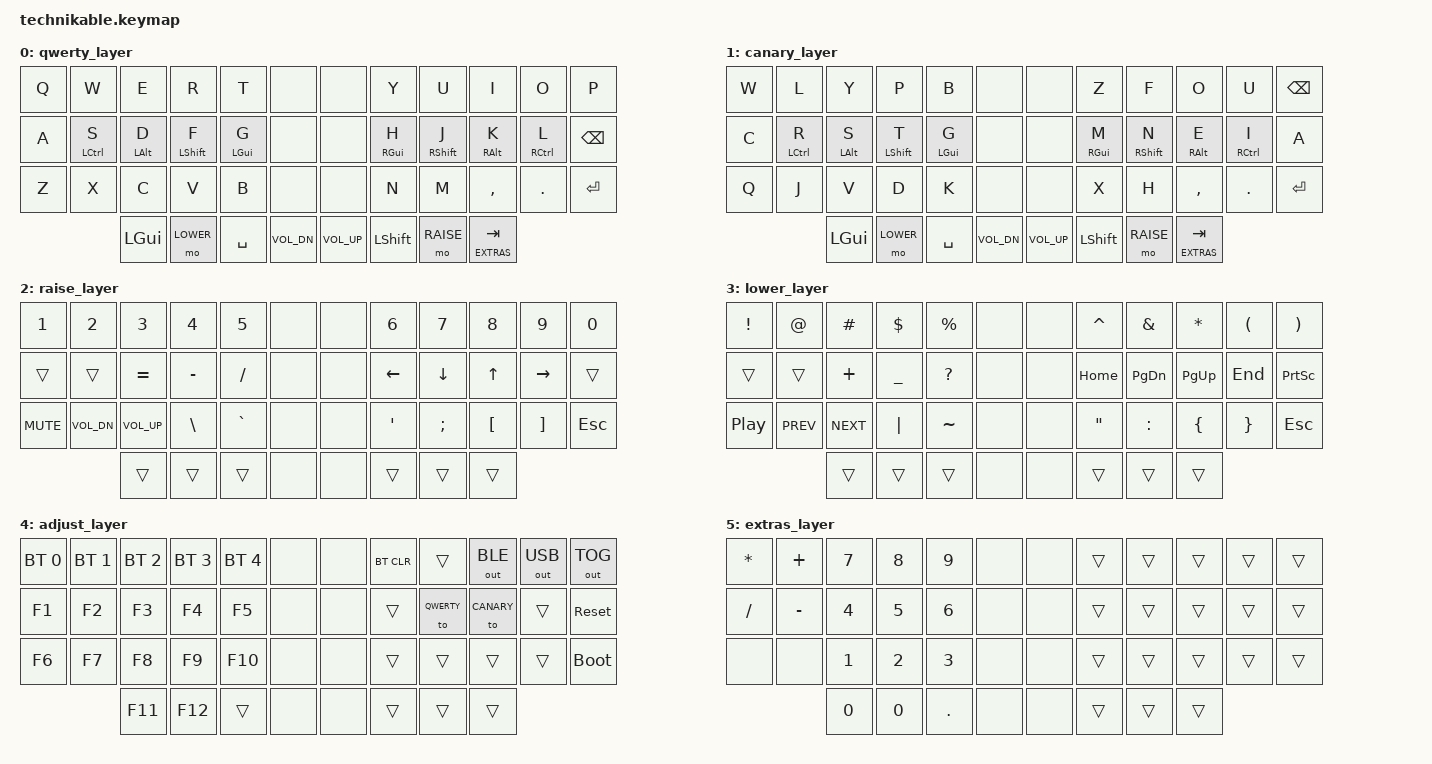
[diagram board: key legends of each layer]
/*
 * Copyright (c) 2022 Pete Johanson
 *
 * SPDX-License-Identifier: MIT
 */

#include <behaviors.dtsi>
#include <dt-bindings/zmk/keys.h>
#include <dt-bindings/zmk/bt.h>
#include <dt-bindings/zmk/outputs.h>
#include <dt-bindings/zmk/ext_power.h>

#define QWERTY 0
#define CANARY 1
#define RAISE 2
#define LOWER 3
#define ADJUST 4
#define EXTRAS 5

/ {
    conditional_layers {
        compatible = "zmk,conditional-layers";
        tri_layer {
            if-layers = <RAISE LOWER>;
            then-layer = <ADJUST>;
        };
    };
};

/ {
    behaviors {
        hm: homerow_mods {
            compatible = "zmk,behavior-hold-tap";
            #binding-cells = <2>;
            tapping-term-ms = <225>;
            flavor = "tap-preferred";
            bindings = <&kp>, <&kp>;
        };
    };
};

/ {
    chosen {
       zmk,matrix_transform = &ortho_transform;
    };
};

/ {
    keymap {
        compatible = "zmk,keymap";

         qwerty_layer {
            bindings = <
&kp Q     &kp W       &kp E      &kp R       &kp T      &none        &none         &kp Y      &kp U       &kp I          &kp O       &kp P
&kp A     &hm LCTRL S &hm LALT D &hm LSHFT F &hm LGUI G &none        &none         &hm RGUI H &hm RSHFT J &hm RALT K     &hm RCTRL L &kp BSPC
&kp Z     &kp X       &kp C      &kp V       &kp B      &none        &none         &kp N      &kp M       &kp COMMA      &kp DOT     &kp ENTER
                      &kp LGUI   &mo LOWER   &kp SPACE &kp C_VOL_DN &kp C_VOL_UP  &kp LSHIFT  &mo RAISE   &lt EXTRAS TAB
            >;
        };

         canary_layer {
            bindings = <
&kp W     &kp L       &kp Y      &kp P       &kp B      &none        &none         &kp Z      &kp F       &kp O          &kp U       &kp BSPC
&kp C     &hm LCTRL R &hm LALT S &hm LSHFT T &hm LGUI G &none        &none         &hm RGUI M &hm RSHFT N &hm RALT E     &hm RCTRL I &kp A
&kp Q     &kp J       &kp V      &kp D       &kp K      &none        &none         &kp X      &kp H       &kp COMMA      &kp DOT     &kp ENTER
                      &kp LGUI   &mo LOWER   &kp SPACE &kp C_VOL_DN &kp C_VOL_UP  &kp LSHIFT  &mo RAISE   &lt EXTRAS TAB
            >;
        };

        raise_layer {
            bindings = <
&kp N1     &kp N2       &kp N3       &kp N4    &kp N5     &none &none  &kp N6   &kp N7   &kp N8   &kp N9    &kp N0
&trans     &trans       &kp EQUAL    &kp MINUS &kp SLASH  &none &none  &kp LEFT &kp DOWN &kp UP   &kp RIGHT &trans
&kp C_MUTE &kp C_VOL_DN &kp C_VOL_UP &kp BSLH  &kp GRAVE  &none &none  &kp SQT  &kp SEMI &kp LBKT &kp RBKT  &kp ESC
                        &trans       &trans    &trans     &none &none  &trans   &trans   &trans
            >;
        };

        lower_layer {
            bindings = <
&kp EXCL &kp AT     &kp HASH   &kp DLLR  &kp PRCNT &none &none  &kp CARET &kp AMPS  &kp STAR  &kp LPAR &kp RPAR
&trans   &trans     &kp PLUS   &kp UNDER &kp QMARK &none &none  &kp HOME  &kp PG_DN &kp PG_UP &kp END  &kp PSCRN
&kp C_PP &kp C_PREV &kp C_NEXT &kp PIPE  &kp TILDE &none &none  &kp DQT   &kp COLON &kp LBRC  &kp RBRC &kp ESC
                    &trans     &trans    &trans    &none &none  &trans    &trans    &trans
            >;
        };

        adjust_layer {
            bindings = <
&bt BT_SEL 0 &bt BT_SEL 1 &bt BT_SEL 2 &bt BT_SEL 3 &bt BT_SEL 4 &none &none  &bt BT_CLR &trans     &out OUT_BLE &out OUT_USB &out OUT_TOG
&kp F1       &kp F2       &kp F3       &kp F4       &kp F5       &none &none  &trans     &to QWERTY &to CANARY   &trans       &sys_reset
&kp F6       &kp F7       &kp F8       &kp F9       &kp F10      &none &none  &trans     &trans     &trans       &trans       &bootloader
                          &kp F11      &kp F12      &trans       &none &none  &trans     &trans     &trans
            >;
        };

        extras_layer {
            bindings = <
&kp STAR  &kp PLUS  &kp N7 &kp N8 &kp N9  &none &none &trans &trans &trans &trans &trans
&kp SLASH &kp MINUS &kp N4 &kp N5 &kp N6  &none &none &trans &trans &trans &trans &trans
&none     &none     &kp N1 &kp N2 &kp N3  &none &none &trans &trans &trans &trans &trans
                    &kp N0 &kp N0 &kp DOT &none &none &trans &trans &trans 
            >;
        };
    };
};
